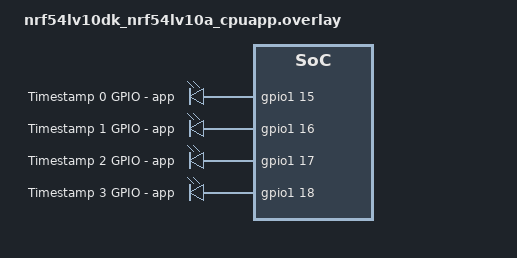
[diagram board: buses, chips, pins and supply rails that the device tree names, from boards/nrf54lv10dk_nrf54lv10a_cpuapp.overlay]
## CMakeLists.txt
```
#
# Copyright (c) 2025 Nordic Semiconductor
#
# SPDX-License-Identifier: LicenseRef-Nordic-5-Clause
#

cmake_minimum_required(VERSION 3.20.0)

find_package(Zephyr REQUIRED HINTS $ENV{ZEPHYR_BASE})
project(NONE)

target_sources(app PRIVATE src/main.c)
```

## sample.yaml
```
sample:
  name: RRAM throttling test

tests:
  tests.benchmarks.rram_throttling.off:
    platform_allow:
      - nrf54lv10dk/nrf54lv10a/cpuapp
    integration_platforms:
      - nrf54lv10dk/nrf54lv10a/cpuapp

  tests.benchmarks.rram_throttling.on.8blocks:
    platform_allow:
      - nrf54lv10dk/nrf54lv10a/cpuapp
    integration_platforms:
      - nrf54lv10dk/nrf54lv10a/cpuapp
    extra_args:
      - FILE_SUFFIX=on_8blocks

  tests.benchmarks.rram_throttling.on.16blocks:
    platform_allow:
      - nrf54lv10dk/nrf54lv10a/cpuapp
    integration_platforms:
      - nrf54lv10dk/nrf54lv10a/cpuapp
    extra_args:
      - FILE_SUFFIX=on_16blocks
```

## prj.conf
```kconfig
#
# Copyright (c) 2025 Nordic Semiconductor ASA
#
# SPDX-License-Identifier: LicenseRef-Nordic-5-Clause
#
CONFIG_NCS_SAMPLES_DEFAULTS=n

CONFIG_USE_DT_CODE_PARTITION=y

CONFIG_GPIO=y

CONFIG_MPU_ALLOW_FLASH_WRITE=y
CONFIG_FLASH=y
CONFIG_FLASH_MAP=y
CONFIG_FLASH_PAGE_LAYOUT=y

CONFIG_ZMS=y

# Disable RRAM throttling (default behavior)
CONFIG_SOC_FLASH_NRF_THROTTLING=n

CONFIG_LOG=n
CONFIG_CONSOLE=n
CONFIG_UART_CONSOLE=n
CONFIG_SERIAL=n
CONFIG_PRINTK=n
```

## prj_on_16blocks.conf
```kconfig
#
# Copyright (c) 2025 Nordic Semiconductor ASA
#
# SPDX-License-Identifier: LicenseRef-Nordic-5-Clause
#
CONFIG_NCS_SAMPLES_DEFAULTS=n

CONFIG_USE_DT_CODE_PARTITION=y

CONFIG_GPIO=y

CONFIG_MPU_ALLOW_FLASH_WRITE=y
CONFIG_FLASH=y
CONFIG_FLASH_MAP=y
CONFIG_FLASH_PAGE_LAYOUT=y

CONFIG_ZMS=y

# Enable RRAM throttling
CONFIG_SOC_FLASH_NRF_THROTTLING=y
# Data block size in 128-bit words (default value)
CONFIG_NRF_RRAM_THROTTLING_DATA_BLOCK=16
# Throttling delay in us (default value)
CONFIG_NRF_RRAM_THROTTLING_DELAY=2000

CONFIG_LOG=n
CONFIG_CONSOLE=n
CONFIG_UART_CONSOLE=n
CONFIG_SERIAL=n
CONFIG_PRINTK=n
```

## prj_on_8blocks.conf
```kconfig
#
# Copyright (c) 2025 Nordic Semiconductor ASA
#
# SPDX-License-Identifier: LicenseRef-Nordic-5-Clause
#
CONFIG_NCS_SAMPLES_DEFAULTS=n

CONFIG_USE_DT_CODE_PARTITION=y

CONFIG_GPIO=y

CONFIG_MPU_ALLOW_FLASH_WRITE=y
CONFIG_FLASH=y
CONFIG_FLASH_MAP=y
CONFIG_FLASH_PAGE_LAYOUT=y

CONFIG_ZMS=y

# Enable RRAM throttling
CONFIG_SOC_FLASH_NRF_THROTTLING=y
# Data block size in 128-bit words
CONFIG_NRF_RRAM_THROTTLING_DATA_BLOCK=8
# Throttling delay in us (default value)
CONFIG_NRF_RRAM_THROTTLING_DELAY=2000

CONFIG_LOG=n
CONFIG_CONSOLE=n
CONFIG_UART_CONSOLE=n
CONFIG_SERIAL=n
CONFIG_PRINTK=n
```

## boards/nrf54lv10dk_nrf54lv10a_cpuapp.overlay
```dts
/*
 * Copyright (c) 2025 Nordic Semiconductor ASA
 *
 * SPDX-License-Identifier: LicenseRef-Nordic-5-Clause
 */

/ {
	chosen {
		zephyr,code-partition = &app_code_partition;
	};

	timestamps {
		compatible = "gpio-leds";
		timestamp0: timestamp_0 {
			gpios = < &gpio1 15 GPIO_ACTIVE_HIGH >;
			label = "Timestamp 0 GPIO - app";
		};

		timestamp1: timestamp_1 {
			gpios = < &gpio1 16 GPIO_ACTIVE_HIGH >;
			label = "Timestamp 1 GPIO - app";
		};

		timestamp2: timestamp_2 {
			gpios = < &gpio1 17 GPIO_ACTIVE_HIGH >;
			label = "Timestamp 2 GPIO - app";
		};

		timestamp3: timestamp_3 {
			gpios = < &gpio1 18 GPIO_ACTIVE_HIGH >;
			label = "Timestamp 3 GPIO - app";
		};
	};


	aliases {
		timestamp0 = &timestamp0;
		timestamp1 = &timestamp1;
		timestamp2 = &timestamp2;
		timestamp3 = &timestamp3;
	};
};

&cpuapp_rram {
	/delete-node/ partitions;

	partitions {
		compatible = "fixed-partitions";
		#address-cells = <1>;
		#size-cells = <1>;

		app_code_partition: partition@0 {
			label = "code";
			reg = <0x0 DT_SIZE_K(892)>;
		};

		raw_flash_partition: partition@df000 {
			label = "raw_flash";
			reg = <0xdf000 DT_SIZE_K(20)>;
		};

		raw_zms_partition: partition@e4000 {
			label = "raw_zms";
			reg = <0xe4000 DT_SIZE_K(20)>;
		};

	};
};
```

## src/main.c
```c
/*
 * Copyright (c) 2025 Nordic Semiconductor ASA
 *
 * SPDX-License-Identifier: LicenseRef-Nordic-5-Clause
 */

#include <stdbool.h>

#include <zephyr/kernel.h>
#include <zephyr/device.h>

#include <zephyr/fs/zms.h>
#include <zephyr/storage/flash_map.h>

#include <zephyr/drivers/gpio.h>

#include <zephyr/sys/util.h>

/* Timestamp GPIO */

#define TIMESTAMP_COUNT 4

enum timestamp {
	TIMESTAMP_NVM_WRITE,
	TIMESTAMP_NVM_READ,
	TIMESTAMP_NVM_ERASE,
	TIMESTAMP_BENCHMARK,
};

#define _TIMESTAMP_GPIO_DT_SPEC_GET(_idx, ...)  GPIO_DT_SPEC_GET(DT_ALIAS(timestamp ## _idx), gpios)

static const struct gpio_dt_spec timestamps[] = {
	LISTIFY(TIMESTAMP_COUNT, _TIMESTAMP_GPIO_DT_SPEC_GET, (,), )
};

static uint64_t timestamp_start[ARRAY_SIZE(timestamps)];

static int timestamp_init_gpio(const struct gpio_dt_spec *gpio) {
	int ret;

	if (!device_is_ready(gpio->port)) {
		printk("Cannot initialize \"%s\"!\n", gpio->port->name);
		return -ENODEV;
	}

	ret = gpio_pin_configure_dt(gpio, GPIO_OUTPUT_ACTIVE);
	if (ret != 0) {
		printk("Cannot initialize timestamp GPIO \"%s\" (ret %d)!\n", gpio->port->name, ret);
		return ret;
	}

	ret = gpio_pin_set_dt(gpio, 0);
	if (ret != 0) {
		printk("Cannot set timestamp GPIO \"%s\" (ret %d)!\n", gpio->port->name, ret);
		return ret;
	}

	return 0;
}

static int timestamp_init(void)
{
	int ret;

	for (size_t i = 0; i < ARRAY_SIZE(timestamps); i++) {
		ret = timestamp_init_gpio(&timestamps[i]);
		if (ret != 0) {
			printk("Cannot initialize timestamp %d GPIO %d!\n", i, ret);
			return ret;
		}
	}

	return 0;
}

static void timestamp_set_gpio(const struct gpio_dt_spec *gpio, bool set)
{
	int ret = gpio_pin_set_dt(gpio, set ? 1 : 0);
	if (ret != 0) {
		printk("Cannot set timestamp GPIO \"%s\" (ret %d)!\n", gpio->port->name, ret);
	}
}

static uint64_t uptime_us(void)
{
	uint64_t cycles = k_cycle_get_64();
	return (uint64_t)k_cyc_to_us_near64(cycles);
}

static void timestamp_set(enum timestamp ts, bool set)
{
	__ASSERT(ts < ARRAY_SIZE(timestamps), "Timestamp index out of bounds");

	if (set) {
		timestamp_start[ts] = uptime_us();
		timestamp_set_gpio(&timestamps[ts], true);
	} else {
		timestamp_set_gpio(&timestamps[ts], false);
		printk("Timestamp %d: %lld\n", ts, (uptime_us() - timestamp_start[ts]));
		timestamp_start[ts] = 0;
	}
}

/* Raw flash using flash area API */
#define RAW_FLASH_PARTITION_ID DT_FIXED_PARTITION_ID(DT_NODELABEL(raw_flash_partition))

static int write_flash_area(const uint8_t *data, size_t len)
{
	const struct flash_area *fa;
	int err;

	err = flash_area_open(RAW_FLASH_PARTITION_ID, &fa);
	if (err) {
		printk("Unable to open flash area: %d\n", err);
		return err;
	}

	/* Optional: Erase before write if required by use-case
	 * Here we assume user manages erasure as needed.
	 */

	timestamp_set(TIMESTAMP_NVM_WRITE, true);
	err = flash_area_write(fa, 0, data, len);
	timestamp_set(TIMESTAMP_NVM_WRITE, false);
	if (err) {
		printk("Failed to write flash area: %d\n", err);
		flash_area_close(fa);
		return err;
	}

	flash_area_close(fa);
	return 0;
}

static int read_flash_area(uint8_t *data, size_t len)
{
	const struct flash_area *fa;
	int err;

	err = flash_area_open(RAW_FLASH_PARTITION_ID, &fa);
	if (err) {
		printk("Unable to open flash area: %d\n", err);
		return err;
	}

	timestamp_set(TIMESTAMP_NVM_READ, true);
	err = flash_area_read(fa, 0, data, len);
	timestamp_set(TIMESTAMP_NVM_READ, false);
	if (err) {
		printk("Failed to read flash area: %d\n", err);
		flash_area_close(fa);
		return err;
	}

	flash_area_close(fa);
	return 0;
}

static int erase_flash_area(int flash_area_id)
{
	const struct flash_area *fa;
	int err;

	err = flash_area_open(flash_area_id, &fa);
	if (err) {
		printk("Unable to open flash area for erase: %d\n", err);
		return err;
	}

	timestamp_set(TIMESTAMP_NVM_ERASE, true);
	err = flash_area_erase(fa, 0, fa->fa_size);
	timestamp_set(TIMESTAMP_NVM_ERASE, false);
	if (err) {
		printk("Failed to erase flash area: %d\n", err);
		flash_area_close(fa);
		return err;
	}

	flash_area_close(fa);
	return 0;
}


/* ZMS filesystem */
#define RAM_ZMS_NODE raw_zms_partition
#define RAW_ZMS_PARTITION_ID DT_FIXED_PARTITION_ID(DT_NODELABEL(RAM_ZMS_NODE))
#define RAW_ZMS_DEVICE FIXED_PARTITION_DEVICE(RAM_ZMS_NODE)
#define RAW_ZMS_STORAGE_OFFSET FIXED_PARTITION_OFFSET(RAM_ZMS_NODE)
#define RAW_ZMS_SECTOR_SIZE  (DT_PROP(DT_CHOSEN(zephyr_flash), erase_block_size))
#define RAW_ZMS_SECTOR_COUNT 2

static struct zms_fs zms_fs = {
	.flash_device = RAW_ZMS_DEVICE,
	.offset = RAW_ZMS_STORAGE_OFFSET,
	.sector_size = RAW_ZMS_SECTOR_SIZE,
	.sector_count = RAW_ZMS_SECTOR_COUNT,
};

#define ZMS_ENTRY_DATA_ID 1

static int write_zms_entry(const uint8_t *data, size_t len)
{
	int ret;

	timestamp_set(TIMESTAMP_NVM_WRITE, true);
	ret = zms_write(&zms_fs, ZMS_ENTRY_DATA_ID, data, len);
	timestamp_set(TIMESTAMP_NVM_WRITE, false);
	if (ret != len) {
		printk("Cannot write ZMS entry %d!\n", ret);
		return ret;
	}

	return 0;
}

static int read_zms_entry(uint8_t *data, size_t len)
{
	int ret;

	timestamp_set(TIMESTAMP_NVM_READ, true);
	ret = zms_read(&zms_fs, ZMS_ENTRY_DATA_ID, data, len);
	timestamp_set(TIMESTAMP_NVM_READ, false);
	if (ret != len) {
		printk("Cannot read ZMS entry %d!\n", ret);
		return ret;
	}

	return 0;
}

static int init_nvm(void)
{
	int err;

	printk("Erasing flash areas\n");

	err = erase_flash_area(RAW_FLASH_PARTITION_ID);
	if (err) {
		printk("Cannot erase flash area %d!\n", err);
		return err;
	}

	err = erase_flash_area(RAW_ZMS_PARTITION_ID);
	if (err) {
		printk("Cannot erase flash area %d!\n", err);
		return err;
	}

	printk("Initializing ZMS filesystem\n");

	err = zms_mount(&zms_fs);
	if (err) {
		printk("Cannot initialize ZMS filesystem %d!\n", err);
		return err;
	}

	printk("ZMS filesystem initialized\n");

	return err;
}

#define FLASH_BUF_SIZE 1024

static uint8_t flash_buf[FLASH_BUF_SIZE];
static uint8_t verify_buf[FLASH_BUF_SIZE];

static void fill_flash_buf(void)
{
	for (size_t i = 0; i < FLASH_BUF_SIZE; i++) {
		flash_buf[i] = i;
	}
}

int main(void)
{
	int err;

	err = timestamp_init();
	if (err) {
		printk("Cannot initialize timestamp GPIO %d!\n", err);
		return err;
	}

	printk("Starting RRAM Throttling Benchmark\n");


	err = init_nvm();
	if (err) {
		printk("Cannot initialize board %d!\n", err);
		return err;
	}

	k_sleep(K_SECONDS(2));

	timestamp_set(TIMESTAMP_BENCHMARK, true);

	printk("=== Starting flash area benchmark ===\n");

	printk("Filling flash buffer\n");
	fill_flash_buf();

	printk("Writing flash area\n");
	write_flash_area(flash_buf, FLASH_BUF_SIZE);

	memset(verify_buf, 0, FLASH_BUF_SIZE);
	printk("Reading flash area\n");
	read_flash_area(verify_buf, FLASH_BUF_SIZE);

	printk("Verifying flash area\n");
	if (memcmp(flash_buf, verify_buf, FLASH_BUF_SIZE)) {
		printk("Flash area read not match\n");
	} else {
		printk("Flash area read match\n");
	}

	printk("=== Ending flash area benchmark ===\n");

	k_sleep(K_SECONDS(2));

	printk("=== Starting ZMS benchmark ===\n");

	printk("Writing ZMS entry\n");
	write_zms_entry(flash_buf, FLASH_BUF_SIZE);

	memset(verify_buf, 0, FLASH_BUF_SIZE);
	printk("Reading ZMS entry\n");
	read_zms_entry(verify_buf, FLASH_BUF_SIZE);

	printk("Verifying ZMS entry\n");
	if (memcmp(flash_buf, verify_buf, FLASH_BUF_SIZE)) {
		printk("ZMS entry read not match\n");
	} else {
		printk("ZMS entry read match\n");
	}

	printk("=== Ending ZMS benchmark ===\n");

	timestamp_set(TIMESTAMP_BENCHMARK, false);

	return 0;
}
```
